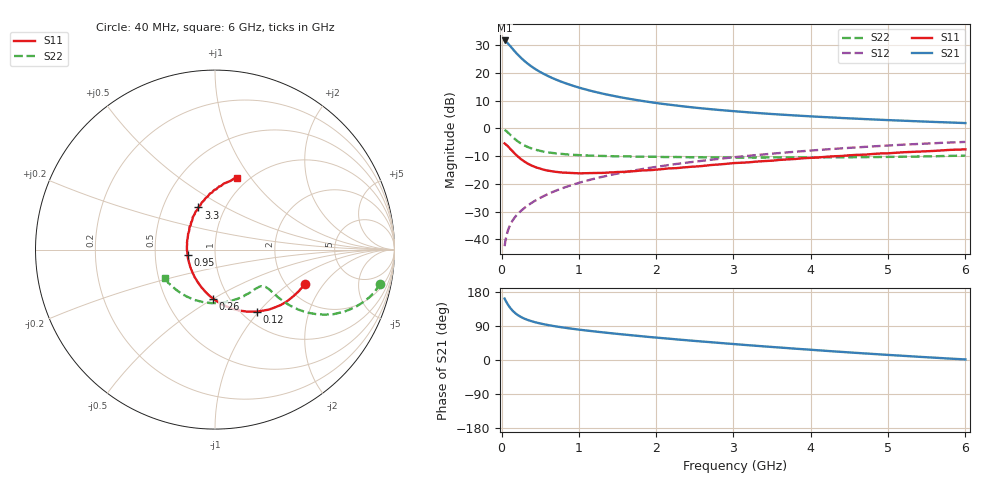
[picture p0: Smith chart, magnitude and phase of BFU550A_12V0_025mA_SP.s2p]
! Filename:  P:\Prog\Test\Noise\ATS_data\Testdata_Net\03 Spar\BFU550A_APG2013_35_C05_12p0V_025mA_SP_CM01_D.s2p
! Date/Time: Tue 16/Apr/2013 15:10:23
! BFU550A_APG2013_35_C05_12p0V_1to35mA_SP_CM01_Bias7_R.s2p
! MDIF S-parameter v. bias file
! BFU550A_APG2013_35_C05_12p0V_1to35mA_SP_CM01
! Date/time Mon Apr 15 17:55:46 2013
! VAR V_out= 12.0000
! VAR I_out= 24.9950
! VAR V_in= 0.7616
! VAR I_in= 0.2364
! Device data file deembeded for feedlines and parallel
! Original file: \03 Spar\BFU550A_APG2013_35_C05_12p0V_025mA_SP_CM01_R.s2p
! Feed-files: PR017V01_150413_Feed1.s2p, PR017V01_150413_Feed2.s2p
! Parallel-file: PR017V01_150413_Par.s2p
# MHz S MA R 50
!  Freq-MHz  S11-mag  S11-arg  S21-mag  S21-arg  S12-mag  S12-arg  S22-mag  S22-arg
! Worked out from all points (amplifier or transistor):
!   98 points, 40 MHz to 6 GHz, reference 50 ohm
!   highest |S21| = 31.7 dB at 40 MHz (marker M1)
!   |S21| within 3 dB of that: start of sweep to 142.7 MHz
!   unconditionally stable (mu >= 1): 1.033 GHz to 1.992 GHz
!   at 300 MHz: K = 0.80, MSG = 26.4 dB, |S12| = -28.6 dB
!   at 1.6 GHz: K = 1.01, MAG = 12.9 dB, |S12| = -15.7 dB
!   at 6 GHz: K = 0.91, MSG = 3.4 dB, |S12| = -4.9 dB
!   S11 on the Smith chart (normalised r, x): 40 MHz: 2.48, -1.34; 120 MHz: 1.17, -0.98; 260 MHz: 0.84, -0.50; 950 MHz: 0.73, -0.05; 3.3 GHz: 0.75, +0.38; 6 GHz: 0.89, +0.86
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40  0.536 -21.1  38.41 162.1  0.007542 80.4  0.9394 -11.6
60  0.5075 -30.9  36.32 154.0  0.01097 77.6  0.8979 -17.4
80  0.4793 -40.1  34.18 147.2  0.014 75.2  0.8493 -21.9
100  0.4489 -48.2  31.84 141.0  0.01674 73.4  0.8004 -25.5
120  0.4176 -55.8  29.65 135.5  0.01921 71.9  0.7524 -28.6
160  0.3649 -68.4  25.46 126.9  0.02368 70.4  0.6676 -32.6
180  0.3421 -74.1  23.69 123.3  0.02575 70.1  0.6311 -34.0
220  0.3048 -83.6  20.68 117.4  0.02962 70.0  0.5721 -35.7
260  0.2737 -92.2  18.23 112.6  0.03338 70.3  0.5258 -36.6
340  0.2315 -106.1  14.62 105.6  0.04086 71.2  0.4617 -37.1
400  0.2108 -115.0  12.7 101.7  0.04645 71.9  0.4298 -36.9
480  0.1922 -125.5  10.78 97.4  0.05404 72.5  0.3995 -36.6
700  0.1648 -148.7  7.618 88.8  0.07507 73.3  0.3553 -36.4
950  0.1562 -168.5  5.718 81.5  0.09933 73.0  0.3328 -37.8
1050  0.1553 -175.1  5.2 79.0  0.1091 72.7  0.3276 -38.6
1500  0.1638 161.1  3.727 68.9  0.1533 70.3  0.3134 -44.5
2050  0.1828 141.4  2.805 58.3  0.2072 66.2  0.3059 -54.1
3100  0.2403 115.2  1.993 40.5  0.3112 57.2  0.2982 -76.4
3300  0.2522 111.5  1.898 37.4  0.3311 55.4  0.2982 -80.8
4100  0.2995 97.6  1.618 25.5  0.4082 47.5  0.2996 -100.8
5200  0.3715 82.3  1.374 11.0  0.509 35.8  0.3082 -128.6
6000  0.4186 72.6  1.246 1.5  0.5703 26.8  0.3218 -150.4
